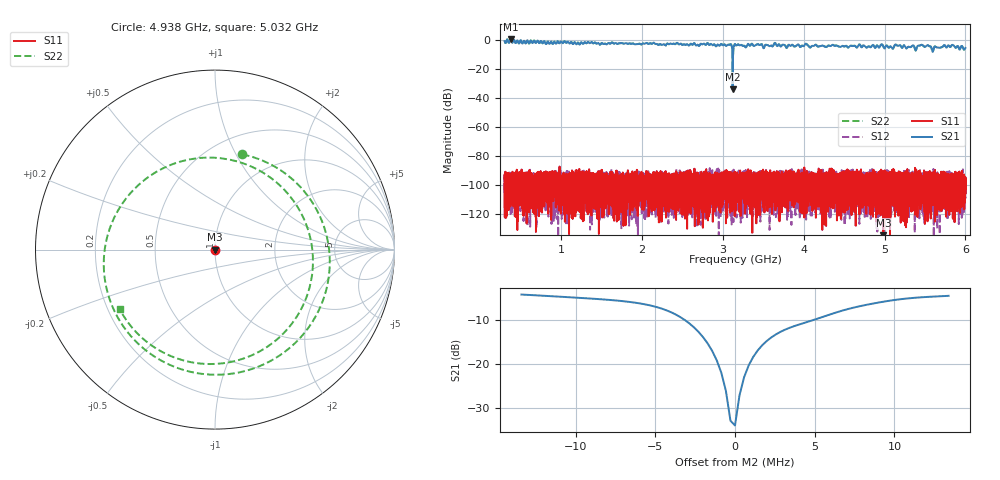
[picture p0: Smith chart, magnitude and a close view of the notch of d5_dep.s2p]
!Agilent Technologies,N5230C,SG49000117,A.08.50.07
!Agilent N5230C: A.08.50.07
!Date: Sunday, March 17, 2024 06:55:28
!Correction: S11(Off)
!S21(Off)
!S12(Off)
!S22(Off)
!S2P File: Measurements: S11, S21, S12, S22:
# Hz S  RI  R 50
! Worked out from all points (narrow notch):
!   20001 points, 300 MHz to 6 GHz, reference 50 ohm
!   highest |S21| = 0.47 dB at 374.1 MHz (marker M1); lowest = -34.0 dB at 3.122 GHz (marker M2)
!   notch at M2: 30.6 dB deep, 2.28 MHz wide at half that depth
!   lowest |S11| = -147.2 dB at 4.986 GHz (marker M3), VSWR 1.00, Z = 50 + j4.03e-06 ohm
!   |S11| at or under -10 dB: start of sweep to end of sweep
!   |S22| runs from -34.1 to 0.5 dB; largest |S21 - S12| = 1.1
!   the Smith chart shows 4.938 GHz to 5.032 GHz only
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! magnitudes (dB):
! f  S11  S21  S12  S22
! 300 MHz  -95.4  -0.9  -103.6  -0.9
! 374.1 MHz  -100.7  0.5  -120.1  0.5
! 1.25 GHz  -102.3  -1.7  -97.0  -1.7
! 2.2 GHz  -104.8  -3.5  -104.4  -3.5
! 3.079 GHz  -95.6  -3.4  -97.4  -3.4
! 3.1 GHz  -101.8  -3.1  -94.9  -3.1
! 3.122 GHz  -98.4  -34.0  -102.8  -34.1
! 3.15 GHz  -99.7  -2.9  -95.0  -2.9
! 3.17 GHz  -101.9  -3.8  -103.2  -3.8
! 3.269 GHz  -100.6  -4.3  -99.3  -4.3
! 3.335 GHz  -108.7  -4.1  -93.5  -4.0
! 3.975 GHz  -103.8  -4.2  -98.0  -4.1
! 4.032 GHz  -103.4  -2.8  -112.4  -2.7
! 4.1 GHz  -94.4  -4.3  -96.9  -4.1
! 4.986 GHz  -147.2  -4.6  -100.9  -4.6
! 5.05 GHz  -108.1  -5.5  -92.6  -5.4
! 5.157 GHz  -101.3  -4.1  -96.1  -4.0
! 5.392 GHz  -99.8  -6.7  -94.4  -6.7
! 5.451 GHz  -94.8  -3.5  -94.2  -3.5
! 5.604 GHz  -101.9  -6.7  -114.1  -6.7
! 5.842 GHz  -104.4  -3.5  -97.2  -3.5
! 6 GHz  -97.5  -5.6  -95.2  -5.6
